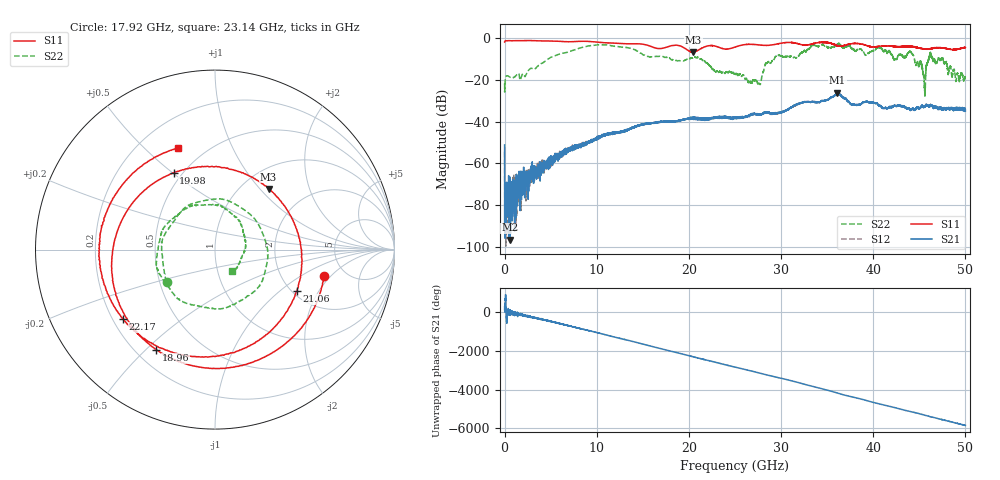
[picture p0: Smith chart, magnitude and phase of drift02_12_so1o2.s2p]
!Created with skrf (http://scikit-rf.org).
# Hz S RI R 50.0
!freq ReS11 ImS11 ReS21 ImS21 ReS12 ImS12 ReS22 ImS22
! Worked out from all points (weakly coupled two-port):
!   10001 points, 300 kHz to 50 GHz, reference 50 ohm
!   highest |S21| = -26.29 dB at 36.12 GHz (marker M1); lowest = -96.3 dB at 555.3 MHz (marker M2)
!   lowest |S11| = -6.9 dB at 20.48 GHz (marker M3), VSWR 2.64, Z = 65.7 + j55.8 ohm
!   |S11| at or under -10 dB: nowhere
!   |S22| runs from -27.9 to -2.7 dB; largest |S21 - S12| = 0.0056
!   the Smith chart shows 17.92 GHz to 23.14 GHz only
!   S11 on the Smith chart (normalised r, x): 17.92 GHz: 3.47, -1.69; 18.96 GHz: 0.28, -0.54; 19.98 GHz: 0.45, +0.50; 21.06 GHz: 2.11, -1.32; 22.17 GHz: 0.24, -0.32; 23.14 GHz: 0.36, +0.64
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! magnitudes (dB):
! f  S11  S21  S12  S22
! 300 kHz  -2.1  -51.2  -54.4  -21.8
! 255.3 MHz  -1.4  -76.3  -77.1  -18.2
! 555.3 MHz  -1.5  -96.3  -70.2  -18.8
! 8.335 GHz  -1.7  -51.6  -51.0  -4.8
! 16.67 GHz  -5.2  -40.4  -40.3  -8.9
! 17.92 GHz  -4.1  -39.9  -39.8  -9.8
! 18.96 GHz  -3.8  -39.5  -39.5  -10.9
! 19.98 GHz  -6.3  -38.7  -38.5  -9.9
! 20.48 GHz  -6.9  -38.9  -38.6  -9.7
! 21.06 GHz  -5.8  -38.5  -38.4  -9.7
! 22.17 GHz  -3.9  -38.5  -38.2  -12.9
! 23.14 GHz  -4.4  -37.9  -38.1  -16.3
! 25 GHz  -4.5  -38.3  -38.3  -17.4
! 27.61 GHz  -3.5  -36.9  -36.6  -22.0
! 28.5 GHz  -3.7  -35.3  -35.7  -12.1
! 33.34 GHz  -3.0  -30.7  -30.7  -3.8
! 36.12 GHz  -3.8  -26.3  -27.0  -3.2
! 41.67 GHz  -4.0  -33.4  -33.4  -6.4
! 44.12 GHz  -4.2  -34.3  -34.6  -7.2
! 45.5 GHz  -5.4  -33.0  -32.8  -18.2
! 46.25 GHz  -5.2  -32.2  -32.3  -8.1
! 50 GHz  -4.7  -35.0  -34.3  -19.0
